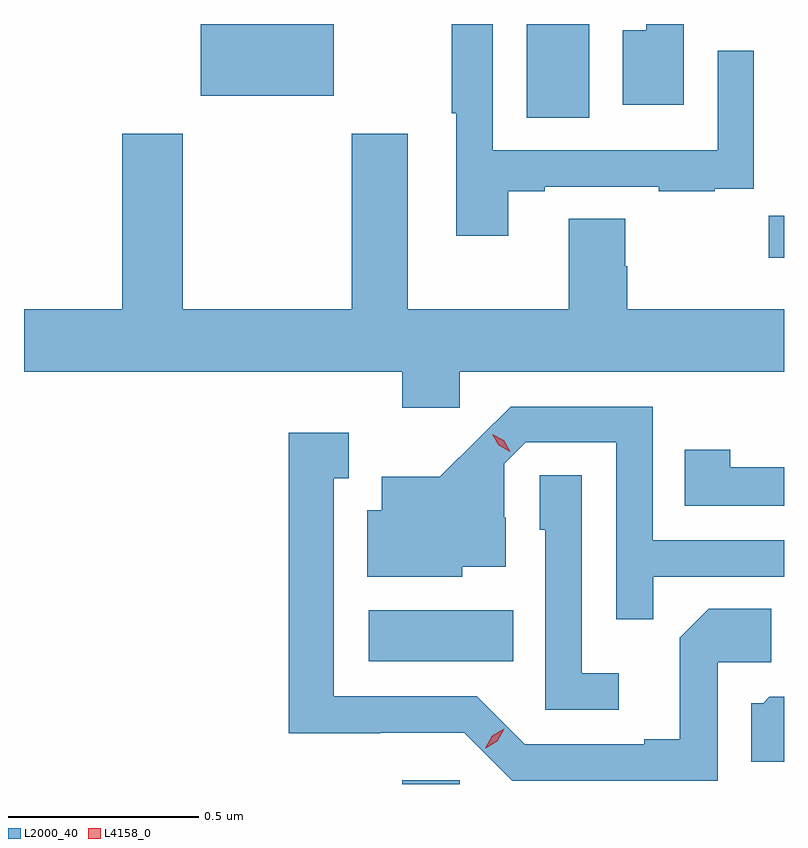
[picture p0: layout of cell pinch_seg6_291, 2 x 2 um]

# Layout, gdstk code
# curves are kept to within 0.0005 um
import gdstk
lib = gdstk.Library(unit=1e-6, precision=1e-09)
def R(c, l, rs):  # rectangles x0, y0, x1, y1
    for r in rs: c.add(gdstk.rectangle(r[:2], r[2:], *l))
def P(c, l, *ps):  # polygons
    for p in ps: c.add(gdstk.Polygon(p, *l))
L2000_40 = (2000, 40)
L4158_0 = (4158, 0)

pinch_seg6_291 = lib.new_cell('pinch_seg6_291')
R(pinch_seg6_291, L2000_40, [(869.177,995.535,869.328,995.545), (869.088,995.858,869.468,995.992), (870.141,996.92,870.181,997.03), (869.504,997.288,869.668,997.535), (868.646,997.346,868.996,997.535)])
P(pinch_seg6_291, L2000_40, [(869.917,997.535),(869.819,997.535),(869.819,997.519),(869.756,997.519),(869.756,997.323),(869.917,997.323)],
  [(869.455,997.095),(869.551,997.095),(869.551,997.107),(869.851,997.107),(869.851,997.095),(869.999,997.095),(869.999,997.101),(870.101,997.101),(870.101,997.21),(870.102,997.21),(870.102,997.465),(870.006,997.465),(870.006,997.203),(869.415,997.203),(869.415,997.535),(869.307,997.535),(869.307,997.3),(869.319,997.3),(869.319,996.978),(869.455,996.978)],
  [(869.044,997.246),(869.044,996.784),(868.599,996.784),(868.599,997.246),(868.439,997.246),(868.439,996.784),(868.181,996.784),(868.181,996.62),(869.177,996.62),(869.177,996.525),(869.328,996.525),(869.328,996.62),(870.181,996.62),(870.181,996.784),(869.768,996.784),(869.768,996.897),(869.763,996.897),(869.763,997.022),(869.615,997.022),(869.615,996.784),(869.191,996.784),(869.191,997.246)],
  [(869.837,996.081),(870.181,996.081),(870.181,996.177),(869.835,996.177),(869.835,996.528),(869.462,996.528),(869.275,996.343),(869.123,996.343),(869.123,996.256),(869.084,996.256),(869.084,996.08),(869.334,996.08),(869.334,996.107),(869.449,996.107),(869.449,996.236),(869.445,996.236),(869.445,996.378),(869.502,996.435),(869.739,996.435),(869.739,995.968),(869.837,995.968)],
  [(870.006,995.856),(870.148,995.856),(870.148,995.996),(869.983,995.996),(869.907,995.92),(869.907,995.653),(869.813,995.653),(869.813,995.64),(869.499,995.64),(869.373,995.766),(868.996,995.766),(868.996,996.339),(869.035,996.339),(869.035,996.46),(868.878,996.46),(868.878,995.669),(869.118,995.669),(869.118,995.67),(869.34,995.67),(869.466,995.544),(870.006,995.544)],
  [(870.181,996.368),(870.039,996.368),(870.039,996.415),(869.92,996.415),(869.92,996.267),(870.181,996.267)],
  [(869.746,995.827),(869.649,995.827),(869.649,996.347),(869.538,996.347),(869.538,996.204),(869.553,996.204),(869.553,995.73),(869.746,995.73)],
  [(870.181,995.764),(870.142,995.764),(870.126,995.748),(870.095,995.748),(870.095,995.594),(870.181,995.594)])
P(pinch_seg6_291, L4158_0, [(869.461,996.41),(869.43,996.426),(869.413,996.456),(869.413,996.456),(869.413,996.456),(869.444,996.44),(869.461,996.41),(869.461,996.41)],
  [(869.395,995.629),(869.395,995.629),(869.413,995.662),(869.445,995.68),(869.445,995.68),(869.445,995.68),(869.427,995.648),(869.396,995.629)])

lib.write_gds('pinch_seg6_291.gds')
